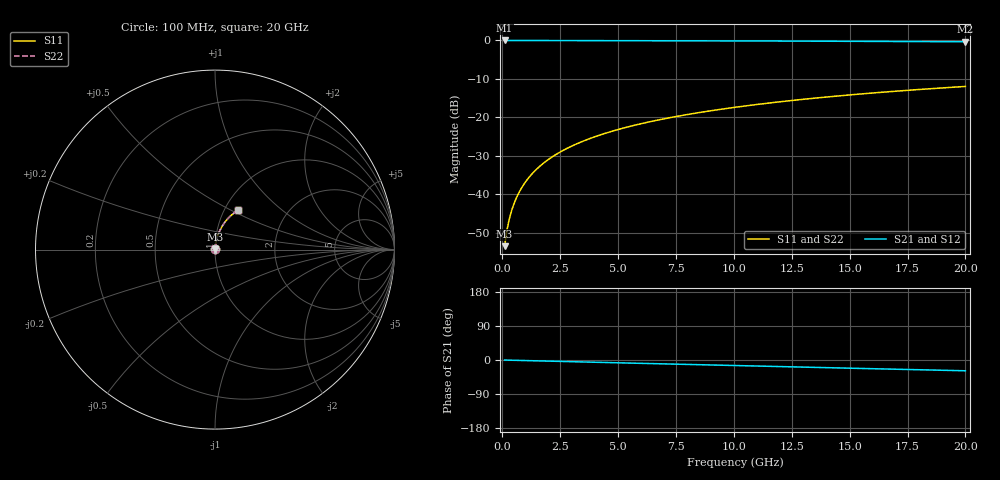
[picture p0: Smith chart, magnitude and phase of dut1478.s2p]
! Touchstone file exported from HFSS 2026.1.0
!  File:  C:/ffzhzh/LocalFiles/Ansys_Project_Files/temp_train_TMRDL_1478_1783167645_22436.aedt
!  Generated:  08:22:01 PM Jul  4, 2026
!  Design:  TMRDL
!  Project:  temp_train_TMRDL_1478_1783167645_22436
! Variables:
!  h_bsmrdl = 2um
!  h_ox = 20um
!  h_rdl = 5um
!  h_sub = 80um
!  h_tmrdl = 4.71um
!  h_tsv = 80um
!  h_via = 3um
!  l_bsmrdl = 300um
!  l_sub = 804.4um
!  l_tmrdl = 404.4um
!  m_sub = 200um
!  pitch = 49.74um
!  r_tsv = 6um
!  s_tmrdl = 10um
!  w_bsmrdl = 18um
!  w_sub = 500um
!  w_tmrdl = 24.58um
!  x_tsv_center1 = 416.69um
!  x_tsv_center2 = 734.69um
!  x_tsv_center3 = 1163.67um
!  x_tsv_center4 = 1481.67um
!  x_tsv_center5 = 1910.65um
!  x_tsv_center6 = 2228.65um
# GHz S MA R 50.000000
! Terminal data exported
! Port[1] = TM_RDL1_1_T1
! Port[2] = TM_RDL1_1_T2
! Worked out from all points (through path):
!   200 points, 100 MHz to 20 GHz, reference 50 ohm
!   highest |S21| = -0.01 dB at 100 MHz (marker M1); lowest = -0.4 dB at 20 GHz (marker M2)
!   group delay of S21, straight-line fit = 3.95 ps
!   lowest |S11| = -53.5 dB at 100 MHz (marker M3), VSWR 1.00, Z = 50.1 + j0.156 ohm
!   |S11| at or under -10 dB: start of sweep to end of sweep
!   |S22| runs from -53.5 to -12.0 dB; largest |S21 - S12| = 2.6e-15
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0.1  0.002115 47.5  0.9986 -0.2  0.9986 -0.2  0.002115 47.5
! Gamma 0 0 0 0
! Port Impedance 50 0 50 0
0.2  0.003402 63.0  0.9985 -0.3  0.9985 -0.3  0.003402 63.0
0.3  0.004741 69.7  0.9984 -0.5  0.9984 -0.5  0.004741 69.7
0.4  0.006097 73.5  0.9983 -0.6  0.9983 -0.6  0.006097 73.5
0.5  0.007467 76.0  0.9983 -0.8  0.9983 -0.8  0.007467 76.0
0.6  0.008849 77.8  0.9982 -0.9  0.9982 -0.9  0.008849 77.8
0.8  0.01163 79.9  0.9981 -1.2  0.9981 -1.2  0.01163 79.9
1.1  0.01584 81.6  0.998 -1.7  0.998 -1.7  0.01584 81.6
1.5  0.02146 82.4  0.9978 -2.3  0.9978 -2.3  0.02146 82.4
1.8  0.02566 82.6  0.9976 -2.7  0.9976 -2.7  0.02566 82.6
2.1  0.02985 82.6  0.9973 -3.1  0.9973 -3.1  0.02985 82.6
2.7  0.03818 82.2  0.9968 -4.0  0.9968 -4.0  0.03818 82.2
3.5  0.04918 81.4  0.9959 -5.2  0.9959 -5.2  0.04918 81.4
4.2  0.05869 80.6  0.9951 -6.2  0.9951 -6.2  0.05869 80.6
5  0.06944 79.6  0.994 -7.4  0.994 -7.4  0.06945 79.6
5.9  0.08142 78.5  0.9927 -8.7  0.9927 -8.7  0.08142 78.5
6.8  0.09326 77.3  0.9913 -10.0  0.9913 -10.0  0.09326 77.3
8.3  0.1127 75.4  0.9888 -12.2  0.9888 -12.2  0.1127 75.4
10.1  0.1357 73.0  0.9854 -14.7  0.9854 -14.7  0.1357 73.0
13.4  0.1765 68.6  0.9781 -19.4  0.9781 -19.4  0.1765 68.6
16.7  0.2154 64.3  0.9697 -24.0  0.9697 -24.0  0.2154 64.2
20  0.2521 59.9  0.9604 -28.5  0.9604 -28.5  0.2521 59.9
